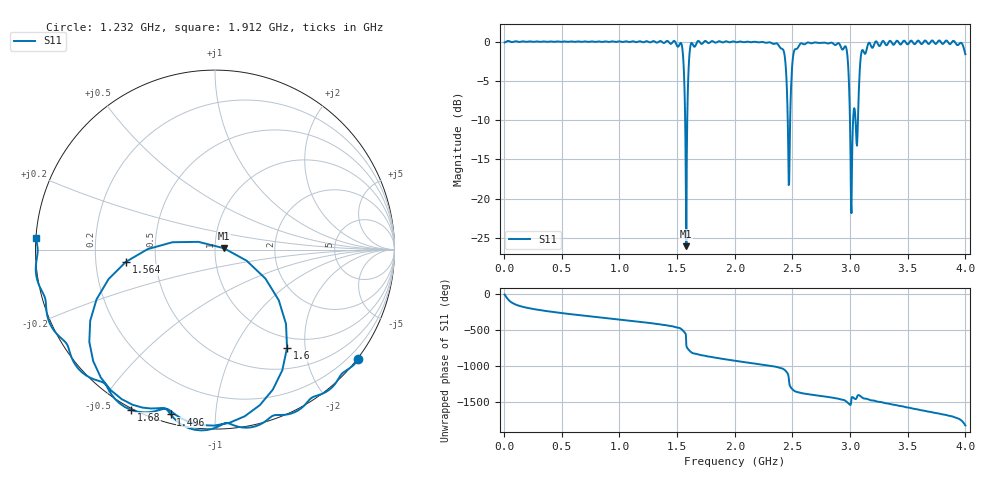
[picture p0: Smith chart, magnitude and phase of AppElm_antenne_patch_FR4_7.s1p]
! TOUCHSTONE file generated by CST MICROWAVE STUDIO
! Date and time: Tue Jun 14 12:33:49 2022
! Project name: AppElm_antenne_patch_FR4.cst
! Parameters = {L=45; W=58.5; e=0.035; h=1.6; lambda=0.190476; ls=120; w0=2.54; w1=0.8893; ws=120; y0=18; y1=23.8}
! Header version: 2018
! Port assignment regex: !\s*Touchstone port\s*([0-9]+)\s*=\s*(CST MWS port|CST DS port)\s*([0-9]+|Zmin|Zmax)\s*\(\"(.*)\"\)(\s*mode\s*([0-9]+))?.*
! Touchstone port assignment:
! Touchstone port 1 = CST MWS port 1 ("")
# GHz S MA R 50
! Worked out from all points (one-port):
!   1000 points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, 4 MHz to 4 GHz, reference 50 ohm
!   lowest |S11| = -26.0 dB at 1.58 GHz (marker M1), VSWR 1.11, Z = 55.2 + j0.875 ohm
!   |S11| at or under -10 dB: 2.459 GHz to 2.48 GHz (20.89 MHz wide, 0.846 % of centre); 2.999 GHz to 3.026 GHz (27.49 MHz wide, 0.912 % of centre); 3.047 GHz to 3.068 GHz (20.94 MHz wide, 0.685 % of centre)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
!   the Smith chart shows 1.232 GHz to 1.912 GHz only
!   S11 on the Smith chart (normalised r, x): 1.232 GHz: -0.03, -2.95; 1.496 GHz: 0.04, -0.77; 1.564 GHz: 0.33, -0.06; 1.6 GHz: 0.82, -1.66; 1.68 GHz: -0.01, -0.60; 1.912 GHz: 0.00, +0.03
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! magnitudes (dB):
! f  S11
! 4 MHz  -0.1
! 504 MHz  0.0
! 1.004 GHz  0.0
! 1.232 GHz  0.1
! 1.496 GHz  -0.4
! 1.504 GHz  -0.6
! 1.544 GHz  -0.7
! 1.564 GHz  -6.0
! 1.58 GHz  -26.0
! 1.6 GHz  -3.4
! 1.62 GHz  -0.3
! 1.68 GHz  0.1
! 1.912 GHz  0.0
! 2.004 GHz  0.0
! 2.408 GHz  -0.9
! 2.436 GHz  -2.2
! 2.468 GHz  -18.3
! 2.484 GHz  -7.7
! 2.504 GHz  -2.1
! 2.58 GHz  -0.2
! 2.956 GHz  -0.6
! 2.976 GHz  -1.7
! 3.004 GHz  -14.7
! 3.024 GHz  -10.8
! 3.06 GHz  -13.2
! 3.112 GHz  -1.1
! 3.504 GHz  -0.3
! 4 GHz  -1.6
